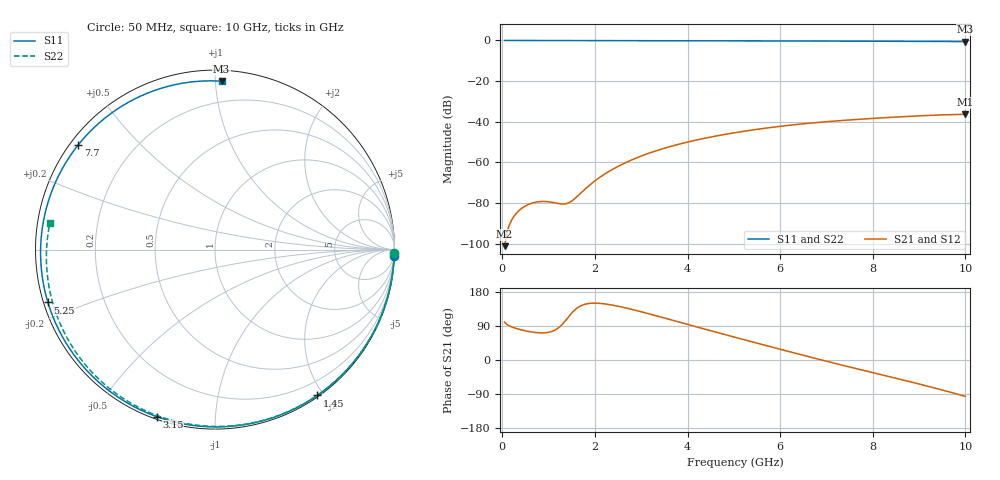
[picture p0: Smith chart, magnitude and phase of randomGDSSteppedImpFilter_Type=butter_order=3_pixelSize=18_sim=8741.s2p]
! freq	dB(S11)	phase(S11)	dB(S12)	phase(S12)
!  dB(S21)	phase(S21)	dB(S22)	phase(S22)
!S-par simulation data
#  GHz  S  DB  R 50
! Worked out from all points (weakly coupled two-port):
!   200 points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, 50 MHz to 10 GHz, reference 50 ohm
!   highest |S21| = -36.39 dB at 10 GHz (marker M1); lowest = -101.3 dB at 50 MHz (marker M2)
!   lowest |S11| = -0.5 dB at 10 GHz (marker M3), VSWR 31.68, Z = 3.28 + j51.9 ohm
!   |S11| at or under -10 dB: nowhere
!   |S22| runs from -0.6 to 0.0 dB; largest |S21 - S12| = 0
!   S11 on the Smith chart (normalised r, x): 50 MHz: 2, -61; 1.45 GHz: 0.02, -1.92; 3.15 GHz: 0.01, -0.71; 5.25 GHz: 0.01, -0.15; 7.7 GHz: 0.02, +0.34; 10 GHz: 0.07, +1.04
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0.05  -0.01 -1.9  -101.30 99.8  -101.30 99.8  -0.00 -1.0
0.35  -0.03 -13.7  -84.00 81.5  -84.00 81.5  -0.01 -7.3
0.7  -0.04 -27.2  -79.75 72.8  -79.75 72.8  -0.02 -14.6
0.9  -0.04 -34.8  -79.29 71.7  -79.29 71.7  -0.02 -18.8
1.15  -0.05 -44.1  -80.04 79.8  -80.04 79.8  -0.03 -24.0
1.45  -0.07 -55.0  -79.76 116.9  -79.76 116.9  -0.04 -30.1
1.55  -0.07 -58.5  -78.17 130.3  -78.17 130.3  -0.04 -32.2
1.75  -0.08 -65.5  -73.99 145.7  -73.99 145.7  -0.05 -36.2
2.05  -0.09 -75.6  -68.31 149.9  -68.31 149.9  -0.05 -42.3
2.35  -0.10 -85.3  -63.87 145.4  -63.87 145.4  -0.06 -48.3
2.7  -0.11 -96.1  -59.79 136.4  -59.79 136.4  -0.07 -55.1
3.15  -0.12 -109.2  -55.67 122.4  -55.67 122.4  -0.08 -63.9
3.4  -0.13 -116.2  -53.78 114.2  -53.78 114.2  -0.09 -68.6
4.25  -0.16 -138.5  -48.75 85.6  -48.75 85.6  -0.12 -84.5
5.05  -0.20 -157.8  -45.32 59.1  -45.32 59.1  -0.15 -99.0
5.25  -0.21 -162.5  -44.60 52.6  -44.60 52.6  -0.16 -102.6
5.95  -0.25 -178.4  -42.42 30.0  -42.42 30.0  -0.20 -114.9
6.7  -0.29 164.9  -40.61 6.1  -40.61 6.1  -0.25 -128.0
7.7  -0.36 142.5  -38.83 -24.5  -38.83 -24.5  -0.34 -145.6
8.35  -0.40 127.6  -37.92 -43.7  -37.92 -43.7  -0.40 -157.2
9.2  -0.47 107.5  -36.92 -69.5  -36.92 -69.5  -0.51 -173.1
10  -0.55 87.8  -36.39 -96.0  -36.39 -96.0  -0.61 170.9
